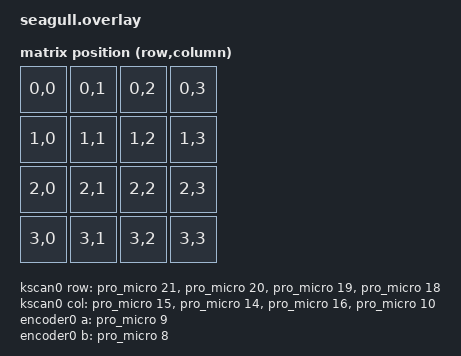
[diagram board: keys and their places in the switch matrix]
#include <dt-bindings/zmk/matrix_transform.h>
#include <physical_layouts.dtsi>

/ {
    chosen {
        zmk,physical-layout = &physical_layout0;
        zephyr,display = &oled;
        zmk,kscan = &kscan0;
        zephyr,display = &i2c0;
    };

    default_transform: keymap_transform_0 {
        compatible = "zmk,matrix-transform";
        columns = <4>;
        rows = <4>;
        map = <
            RC(0,0) RC(0,1) RC(0,2) RC(0,3) 
            RC(1,0) RC(1,1) RC(1,2) RC(1,3) 
            RC(2,0) RC(2,1) RC(2,2) RC(2,3) 
            RC(3,0) RC(3,1) RC(3,2) RC(3,3) 
        >;
    };
 
    kscan0: kscan {
        compatible = "zmk,kscan-gpio-matrix";
        diode-direction = "col2row";
        wakeup-source;

        row-gpios = <&pro_micro 21 (GPIO_ACTIVE_HIGH | GPIO_PULL_DOWN)>
                , <&pro_micro 20 (GPIO_ACTIVE_HIGH | GPIO_PULL_DOWN)>
                , <&pro_micro 19 (GPIO_ACTIVE_HIGH | GPIO_PULL_DOWN)>
                , <&pro_micro 18 (GPIO_ACTIVE_HIGH | GPIO_PULL_DOWN)>;

        col-gpios
                = <&pro_micro 15 GPIO_ACTIVE_HIGH>
                , <&pro_micro 14 GPIO_ACTIVE_HIGH>
                , <&pro_micro 16 GPIO_ACTIVE_HIGH>
                , <&pro_micro 10 GPIO_ACTIVE_HIGH>;
    };

    /* Encoder */
    encoder0: encoder0 {
        compatible = "zmk,encoder";
        a-gpios = <&pro_micro 9 GPIO_ACTIVE_LOW>;
        b-gpios = <&pro_micro 8 GPIO_ACTIVE_LOW>;
        steps = <4>;
    };

    /* Physical layout */
    physical_layout0: physical_layout_0 { // First physical layout, use different naming for other layouts
        compatible = "zmk,physical-layout";
        display-name = "Default Layout";
        kscan = <&kscan0>; // Label of the kscan node, optional if all layouts use the same
        transform = <&default_transform>; // Label of the matrix transform for this layout
        keys  //                     w   h    x    y     rot    rx    ry
            = <&key_physical_attrs 100 100    0    0       0     0     0>
            , <&key_physical_attrs 100 100  100    0       0     0     0>
            , <&key_physical_attrs 100 100  200    0       0     0     0>
            , <&key_physical_attrs 100 100  300    0       0     0     0>
            , <&key_physical_attrs 100 100    0  100       0     0     0>
            , <&key_physical_attrs 100 100  100  100       0     0     0>
            , <&key_physical_attrs 100 100  200  100       0     0     0>
            , <&key_physical_attrs 100 100  300  100       0     0     0>
            , <&key_physical_attrs 100 100    0  200       0     0     0>
            , <&key_physical_attrs 100 100  100  200       0     0     0>
            , <&key_physical_attrs 100 100  200  200       0     0     0>
            , <&key_physical_attrs 100 100  300  200       0     0     0>
            , <&key_physical_attrs 100 100    0  300       0     0     0>
            , <&key_physical_attrs 100 100  100  300       0     0     0>
            , <&key_physical_attrs 100 100  200  300       0     0     0>
            , <&key_physical_attrs 100 100  300  300       0     0     0>
            ;
    };

    // OLED
    &i2c0 {
    compatible = "nordic,nrf-twim"; // I2C controller instead of generic
    status = "okay";
    pinctrl-0 = <&i2c0_default>;
    pinctrl-1 = <&i2c0_sleep>;
    pinctrl-names = "default", "sleep";
    clock-frequency = <I2C_BITRATE_FAST>;

    };
};

&pinctrl {
    /* configuration for i2c0 device, default state */
    i2c0_default: i2c0_default {
        group1 {
            psels = <NRF_PSEL(TWIM_SDA, 0, 7)>,
                <NRF_PSEL(TWIM_SCL, 0, 27)>;
        };
    };

    i2c0_sleep: i2c0_sleep {
        group1 {
            psels = <NRF_PSEL(TWIM_SDA, 0, 7)>,
                <NRF_PSEL(TWIM_SCL, 0, 27)>;
            low-power-enable;
        };
    };
};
